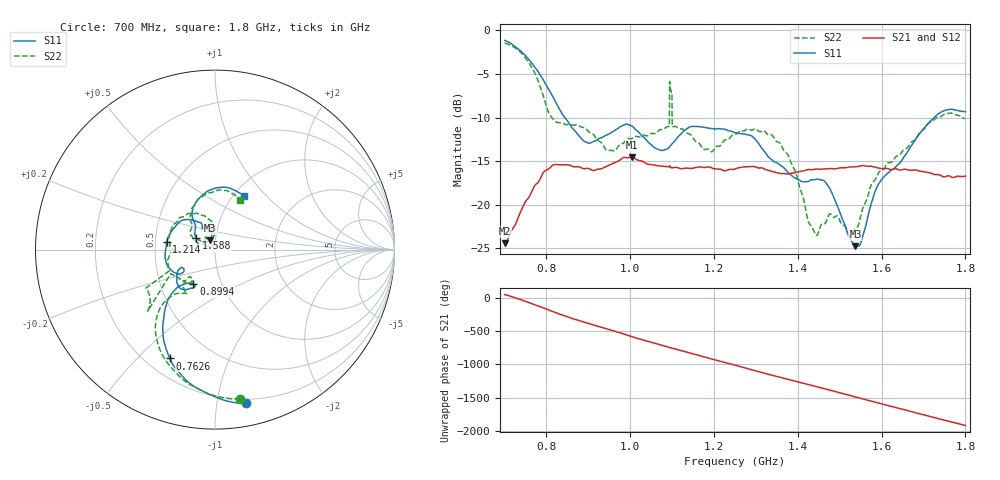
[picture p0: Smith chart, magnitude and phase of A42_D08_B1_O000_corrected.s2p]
! Created with skrf 1.9.0 (http://scikit-rf.org).
# Hz S RI R 50.0
!freq ReS11 ImS11 ReS21 ImS21 ReS12 ImS12 ReS22 ImS22
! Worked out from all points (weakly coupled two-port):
!   1601 points, 700 MHz to 1.8 GHz, reference 50 ohm
!   highest |S21| = -14.52 dB at 1.003 GHz (marker M1); lowest = -24.4 dB at 700.7 MHz (marker M2)
!   lowest |S11| = -24.7 dB at 1.537 GHz (marker M3), VSWR 1.12, Z = 47.2 + j4.9 ohm
!   |S11| at or under -10 dB: 843.6 MHz to 1.725 GHz (881.7 MHz wide, 68.6 % of centre)
!   |S22| runs from -23.5 to -1.5 dB; largest |S21 - S12| = 0.0036
!   S11 on the Smith chart (normalised r, x): 700 MHz: 0.17, -1.21; 762.6 MHz: 0.29, -0.63; 899.4 MHz: 0.73, -0.30; 1.214 GHz: 0.57, +0.05; 1.588 GHz: 0.80, +0.11; 1.8 GHz: 1.12, +0.76
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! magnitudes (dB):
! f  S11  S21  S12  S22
! 700 MHz  -1.2  -24.4  -24.2  -1.5
! 700.7 MHz  -1.2  -24.4  -24.1  -1.5
! 762.6 MHz  -3.7  -18.7  -18.7  -4.1
! 814.1 MHz  -7.5  -15.5  -15.5  -10.1
! 883.6 MHz  -12.4  -15.8  -15.7  -11.1
! 899.4 MHz  -12.9  -15.8  -15.9  -11.6
! 946.8 MHz  -12.0  -15.5  -15.5  -13.8
! 1.003 GHz  -11.0  -14.5  -14.6  -12.4
! 1.067 GHz  -13.7  -15.5  -15.5  -11.5
! 1.099 GHz  -13.0  -15.8  -15.7  -7.1
! 1.106 GHz  -12.7  -15.7  -15.7  -11.0
! 1.214 GHz  -11.3  -15.9  -15.9  -13.3
! 1.25 GHz  -11.7  -15.9  -15.8  -11.9
! 1.357 GHz  -15.4  -16.4  -16.4  -12.9
! 1.394 GHz  -17.0  -16.3  -16.3  -16.1
! 1.434 GHz  -17.1  -16.0  -15.9  -22.6
! 1.472 GHz  -17.8  -15.9  -15.9  -21.4
! 1.537 GHz  -24.7  -15.6  -15.6  -22.8
! 1.588 GHz  -18.1  -15.7  -15.7  -16.9
! 1.617 GHz  -16.3  -15.9  -15.9  -15.2
! 1.733 GHz  -9.7  -16.5  -16.6  -10.0
! 1.8 GHz  -9.3  -16.7  -16.7  -10.1
